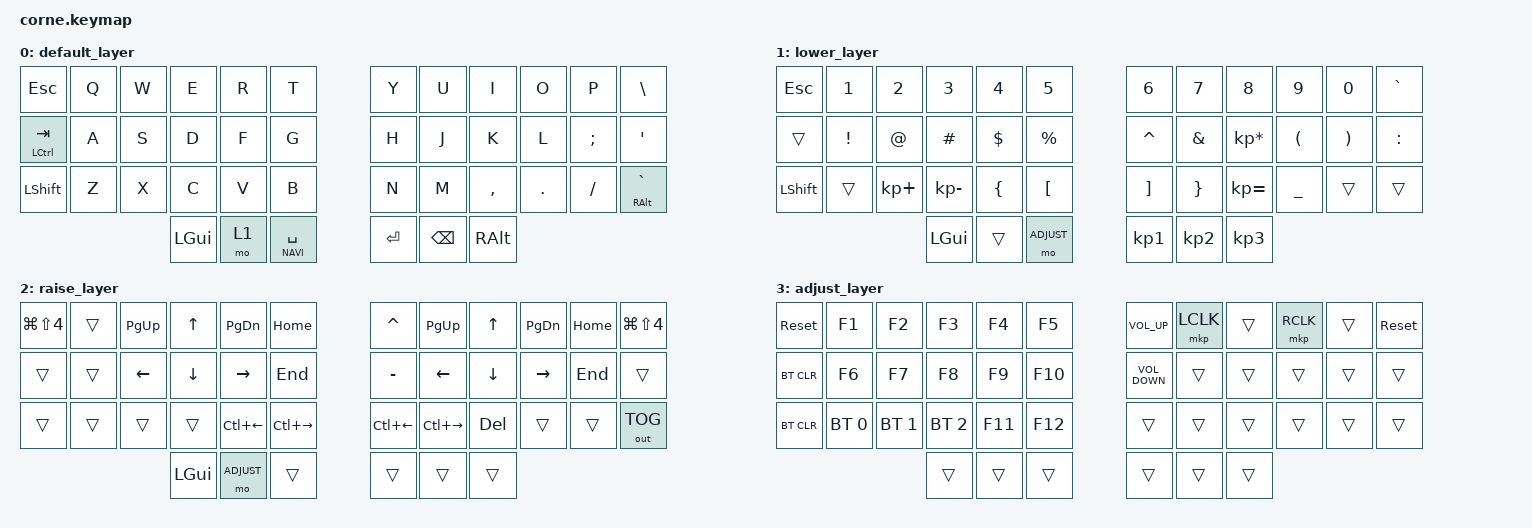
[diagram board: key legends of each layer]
/*
 * Copyright (c) 2020 The ZMK Contributors
 *
 * SPDX-License-Identifier: MIT
 */

#include <behaviors.dtsi>
#include <dt-bindings/zmk/bt.h>
#include <dt-bindings/zmk/keys.h>
#include <dt-bindings/zmk/mouse.h>
#include <dt-bindings/zmk/outputs.h>

#define QWERTY 0
#define NUMB 1
#define NAVI 2
#define ADJUST 3

&led_strip { chain-length = <27>; };

/ {
    behaviors {
        hm: homerow_mods {
        compatible = "zmk,behavior-hold-tap";
        label = "HOMEROW_MODS";
        #binding-cells = <2>;
        tapping-term-ms = <130>;
        quick_tap_ms = <0>;
        flavor = "tap-preferred";
        bindings = <&kp>, <&kp>;
        };
    };

    keymap {
        compatible = "zmk,keymap";

        default_layer {
            // .--------------------------------------------------------------.       .-----------------------------------------------------------.
            // |   ESC        |    Q    |    W   |   E    |    R    |    T    |       |   Y   |    U    |    I    |    O    |     P    |    \     |
            // |--------------+---------+--------+--------+---------+---------|       |-------+---------+---------+---------+----------+----------|
            // |   CTRL/Tab   |    A    |    S   |   D    |    F    |    G    |       |   H   |    J    |    K    |    L    |     ;    |     '    |
            // |--------------+---------+--------+--------+---------+---------|       |-------+---------+---------+---------+----------+----------|
            // |   SHFT       |    Z    |    X   |   C    |    V    |    B    |       |   N   |    M    |    ,    |    .    |     /    | ` | ALT  |
            // '---------------------------------+--------+---------+---------+       |-------+---------+---------+-------------------------------'
            //                                   |  GUI   |   MO1   |   SPC   |       |   ENT |   BKSP  |  LALT   |
            //                                   '--------+---------+---------'       '-------+---------+---------'

            bindings = <
&kp ESC        &kp Q  &kp W  &kp E     &kp R  &kp T             &kp Y    &kp U     &kp I      &kp O    &kp P     &kp BACKSLASH
&mt LCTRL TAB  &kp A  &kp S  &kp D     &kp F  &kp G             &kp H    &kp J     &kp K      &kp L    &kp SEMI  &kp SQT
&kp LSHFT      &kp Z  &kp X  &kp C     &kp V  &kp B             &kp N    &kp M     &kp COMMA  &kp DOT  &kp FSLH  &mt RALT GRAVE
                             &kp LGUI  &mo 1  &lt NAVI SPACE    &kp RET  &kp BSPC  &kp RALT
            >;
        };

        lower_layer {
            // .--------------------------------------------------------------.       .-----------------------------------------------------------.
            // |   ESC        |    1    |    2   |   3    |    4    |    5    |       |   6   |    7    |    8    |    9    |     0    |    `     |
            // |--------------+---------+--------+--------+---------+---------|       |-------+---------+---------+---------+----------+----------|
            // |              |    !    |    @   |   #    |    $    |    %    |       |   ^   |    &    |    *    |    (    |     )    |     :    |
            // |--------------+---------+--------+--------+---------+---------|       |-------+---------+---------+---------+----------+----------|
            // |   SHFT       |         |    +   |   -    |    {    |    [    |       |   ]   |    }    |    =    |    _    |          |          |
            // '---------------------------------+--------+---------+---------+       |-------+---------+---------+-------------------------------'
            //                                   |  GUI   |         |   MO3   |       |   ,   |    .    |   ?     |
            //                                   '--------+---------+---------'       '-------+---------+---------'

            bindings = <
&kp ESC    &kp N1    &kp N2       &kp N3        &kp N4          &kp N5              &kp N6             &kp N7           &kp N8           &kp N9          &kp N0    &kp GRAVE
&trans     &kp EXCL  &kp AT       &kp HASH      &kp DLLR        &kp PRCNT           &kp CARET          &kp AMPS         &kp KP_MULTIPLY  &kp LPAR        &kp RPAR  &kp COLON
&kp LSHFT  &trans    &kp KP_PLUS  &kp KP_MINUS  &kp LEFT_BRACE  &kp LEFT_BRACKET    &kp RIGHT_BRACKET  &kp RIGHT_BRACE  &kp KP_EQUAL     &kp UNDERSCORE  &trans    &trans
                                  &kp LGUI      &trans          &mo ADJUST          &kp KP_N1          &kp KP_N2        &kp KP_N3
            >;
        };

        raise_layer {
            // .----------------------------------------------------------------.       .-----------------------------------------------------------------.
            // |   CMD+SHIFT+4  |       |   PU   |   UP   |    PD    |   HOME   |       |  HOME   |    PU    |    UP   |   PD    |          | CMD+SHIFT+4 |
            // |----------------+-------+--------+--------+----------+----------|       |---------+----------+---------+---------+----------+-------------|
            // |                |       |  LEFT  |  DOWN  |   RIGHT  |   END    |       |  END    |   LEFT   |   DOWN  |  RIGHT  |          |             |
            // |----------------+-------+--------+--------+----------+----------|       |---------+----------+---------+---------+----------+-------------|
            // |     OUT_TOG    |       |        |        |CTRL+LEFT |CTRL+RIGHT|       |CTRL+LEFT|CTRL+RIGHT|   del  |         |          |   OUT_TOG   |
            // '---------------------------------+--------+----------+----------+       |---------+----------+---------+----------------------------------'
            //                                   |  GUI   |   MO3    |          |       |         |          |         |
            //                                   '--------+----------+----------'       '---------+----------+---------'

            bindings = <
&kp LG(LS(N4))  &trans  &kp PAGE_UP     &kp UP_ARROW    &kp PAGE_DOWN       &kp HOME               &kp CARET           &kp PAGE_UP          &kp UP_ARROW    &kp PAGE_DOWN    &kp HOME  &kp LG(LS(N4))
&trans          &trans  &kp LEFT_ARROW  &kp DOWN_ARROW  &kp RIGHT_ARROW     &kp END                &kp MINUS           &kp LEFT_ARROW       &kp DOWN_ARROW  &kp RIGHT_ARROW  &kp END   &trans
&trans          &trans  &trans          &trans          &kp LC(LEFT_ARROW)  &kp LC(RIGHT_ARROW)    &kp LC(LEFT_ARROW)  &kp LC(RIGHT_ARROW)  &kp DELETE      &trans           &trans    &out OUT_TOG
                                        &kp LGUI        &mo ADJUST          &trans                 &trans              &trans               &trans
            >;
        };

        adjust_layer {
            // .--------------------------------------------------------.       .--------------------------------------------------------------.
            // |         |  F1    |   F2   |   F3   |   F4   |   F5   |       |  VOL+  |        |         |         |          |             |
            // |---------+--------+--------+--------+---------+---------|       |--------+--------+---------+---------+----------+-------------|
            // |         |  F6    |  F7    |  F8   |   F9    | F10    |       |  VOL-  |        |         |         |          |             |
            // |---------+--------+--------+--------+---------+---------|       |--------+--------+---------+---------+----------+-------------|
            // |  BTCLR  |  BT1   |  BT2   |  BT3   |   F11   |  F12   |       |        |        |         |         |          |             |
            // '---------------------------+--------+---------+---------+       |--------+--------+---------+----------------------------------'
            //                             |        |         |         |       |        |        |         |
            //                             '--------+---------+---------'       '--------+--------+---------'

            bindings = <
&sys_reset  &kp F1        &kp F2        &kp F3        &kp F4   &kp F5     &kp C_VOLUME_UP    &mkp LCLK  &trans  &mkp RCLK  &trans  &sys_reset
&bt BT_CLR  &kp F6        &kp F7        &kp F8        &kp F9   &kp F10    &kp C_VOLUME_DOWN  &trans     &trans  &trans     &trans  &trans
&bt BT_CLR  &bt BT_SEL 0  &bt BT_SEL 1  &bt BT_SEL 2  &kp F11  &kp F12    &trans             &trans     &trans  &trans     &trans  &trans
                                        &trans        &trans   &trans     &trans             &trans     &trans
            >;
        };
    };
};
